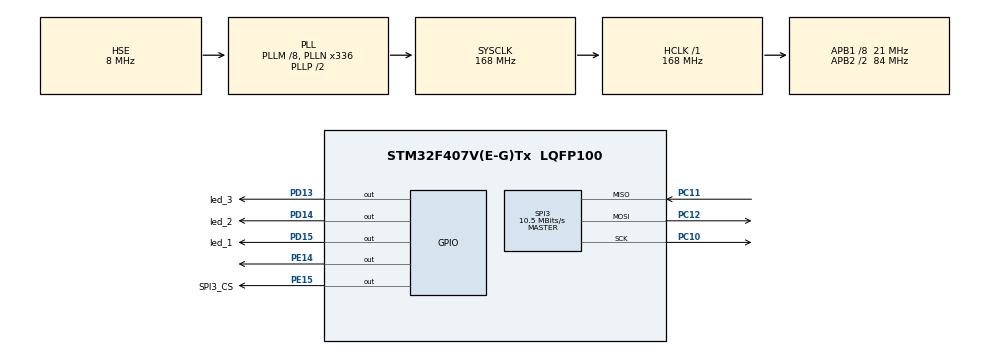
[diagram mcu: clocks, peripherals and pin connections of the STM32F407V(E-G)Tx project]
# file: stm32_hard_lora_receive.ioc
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Mcu.Family=STM32F4
Mcu.Name=STM32F407V(E-G)Tx
Mcu.Package=LQFP100
NVIC.PriorityGroup=NVIC_PRIORITYGROUP_0
NVIC.TIM2_IRQn=true\:0\:0\:false\:false\:true\:true\:true
PA13.Mode=Serial_Wire
PA13.Signal=SYS_JTMS-SWDIO
PA14.Mode=Serial_Wire
PA14.Signal=SYS_JTCK-SWCLK
PC10.Mode=Full_Duplex_Master
PC10.Signal=SPI3_SCK
PC11.Mode=Full_Duplex_Master
PC11.Signal=SPI3_MISO
PC12.Mode=Full_Duplex_Master
PC12.Signal=SPI3_MOSI
PC14-OSC32_IN.Mode=LSE-External-Oscillator
PC14-OSC32_IN.Signal=RCC_OSC32_IN
PC15-OSC32_OUT.Mode=LSE-External-Oscillator
PC15-OSC32_OUT.Signal=RCC_OSC32_OUT
PD13.GPIO_Label=led_3
PD13.Signal=GPIO_Output
PD14.GPIO_Label=led_2
PD14.Signal=GPIO_Output
PD15.GPIO_Label=led_1
PD15.Signal=GPIO_Output
PE14.Signal=GPIO_Output
PE15.GPIO_Label=SPI3_CS
PE15.Signal=GPIO_Output
PH0-OSC_IN.Mode=HSE-External-Oscillator
PH0-OSC_IN.Signal=RCC_OSC_IN
PH1-OSC_OUT.Mode=HSE-External-Oscillator
PH1-OSC_OUT.Signal=RCC_OSC_OUT
ProjectManager.HeapSize=0x200
ProjectManager.StackSize=0x400
ProjectManager.TargetToolchain=STM32CubeIDE
RCC.48MHZClocksFreq_Value=48000000
RCC.AHBFreq_Value=168000000
RCC.APB1CLKDivider=RCC_HCLK_DIV8
RCC.APB1Freq_Value=21000000
RCC.APB1TimFreq_Value=42000000
RCC.APB2CLKDivider=RCC_HCLK_DIV2
RCC.APB2Freq_Value=84000000
RCC.APB2TimFreq_Value=168000000
RCC.CortexFreq_Value=168000000
RCC.HCLKFreq_Value=168000000
RCC.HSE_VALUE=8000000
RCC.HSI_VALUE=16000000
RCC.PLLM=8
RCC.PLLN=336
RCC.PLLQ=7
RCC.PLLSourceVirtual=RCC_PLLSOURCE_HSE
RCC.SYSCLKFreq_VALUE=168000000
RCC.SYSCLKSource=RCC_SYSCLKSOURCE_PLLCLK
RCC.VCOOutputFreq_Value=336000000
SPI3.CalculateBaudRate=10.5 MBits/s
SPI3.Direction=SPI_DIRECTION_2LINES
SPI3.Mode=SPI_MODE_MASTER
SPI3.VirtualType=VM_MASTER
TIM2.Period=250
TIM2.Prescaler=42000
VP_TIM2_VS_ClockSourceINT.Mode=Internal
board=STM32F407G-DISC1

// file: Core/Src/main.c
/* USER CODE BEGIN Header */
/**
 ******************************************************************************
 * @file           : main.c
 * @brief          : Main program body
 ******************************************************************************
 * @attention
 *
 * <h2><center>&copy; Copyright (c) 2021 STMicroelectronics.
 * All rights reserved.</center></h2>
 *
 * This software component is licensed by ST under Ultimate Liberty license
 * SLA0044, the "License"; You may not use this file except in compliance with
 * the License. You may obtain a copy of the License at:
 *                             www.st.com/SLA0044
 *
 ******************************************************************************
 */
/* USER CODE END Header */
#include "main.h"

/* USER CODE BEGIN Includes */
#include "LoRa.h"
#include "stdio.h"
#include "stdlib.h"
#include "string.h"

/* USER CODE END Includes */

SPI_HandleTypeDef hspi3;

TIM_HandleTypeDef htim2;

/* USER CODE BEGIN PV */
uint8_t transmitOK;
uint8_t receiveOK;
uint8_t cnt = 0;
 uint8_t read_data[10];
unsigned char myID1[7];
unsigned char myID2[7];
uint8_t counterID1;
uint8_t counterID2;
LoRa myLoRa;
uint8_t trueRate = 0 ;
/* USER CODE END PV */

void SystemClock_Config(void);
static void MX_GPIO_Init(void);
static void MX_SPI3_Init(void);
static void MX_TIM2_Init(void);

int main(void)
{

  /* MCU Configuration--------------------------------------------------------*/

  /* Reset of all peripherals, Initializes the Flash interface and the Systick. */
  HAL_Init();

  /* Configure the system clock */
  SystemClock_Config();

  /* Initialize all configured peripherals */
  MX_GPIO_Init();
  MX_SPI3_Init();
  MX_TIM2_Init();
  /* USER CODE BEGIN 2 */

	myLoRa = newLoRa();

	myLoRa.CS_port = GPIOE;
	myLoRa.CS_pin = GPIO_PIN_15;
	myLoRa.reset_port = GPIOE;
	myLoRa.reset_pin = GPIO_PIN_14;
	myLoRa.DIO0_port = GPIOE;
	myLoRa.DIO0_pin = GPIO_PIN_13;
	myLoRa.hSPIx = &hspi3;

	myLoRa.frequency = 868;             // default = 433 MHz
	myLoRa.spredingFactor = SF_7;            // default = SF_7
	myLoRa.bandWidth = BW_125KHz;       // default = BW_125KHz
	myLoRa.crcRate = CR_4_5;          // default = CR_4_5
	myLoRa.power = POWER_20db;      // default = 20db
	myLoRa.overCurrentProtection = 100;             // default = 100 mA
	myLoRa.preamble = 8;              // default = 8;

	LoRa_reset(&myLoRa);
	LoRa_init(&myLoRa);
	LoRa_WakeUp_Receive(&myLoRa);
	// first two index is containing password
	// another 5 index is contating RFID data
	myID1[0] = 19;
	myID1[1] = 07;
	myID1[2] = 00;
	myID1[3] = 00;
	myID1[4] = 11;
	myID1[5] = 11;
	myID1[6] = 00;
	myID2[0] = 19;
	myID2[1] = 07;
	myID2[2] = 00;
	myID2[3] = 00;
	myID2[4] = 11;
	myID2[5] = 11;
	myID2[6] = 00;

	HAL_TIM_Base_Start_IT(&htim2);
  /* USER CODE END 2 */

  /* Infinite loop */
	while (1) {

	}
}

void SystemClock_Config(void)
{
  RCC_OscInitTypeDef RCC_OscInitStruct = {0};
  RCC_ClkInitTypeDef RCC_ClkInitStruct = {0};

  /** Configure the main internal regulator output voltage
  */
  __HAL_RCC_PWR_CLK_ENABLE();
  __HAL_PWR_VOLTAGESCALING_CONFIG(PWR_REGULATOR_VOLTAGE_SCALE1);
  /** Initializes the RCC Oscillators according to the specified parameters
  * in the RCC_OscInitTypeDef structure.
  */
  RCC_OscInitStruct.OscillatorType = RCC_OSCILLATORTYPE_HSE;
  RCC_OscInitStruct.HSEState = RCC_HSE_ON;
  RCC_OscInitStruct.PLL.PLLState = RCC_PLL_ON;
  RCC_OscInitStruct.PLL.PLLSource = RCC_PLLSOURCE_HSE;
  RCC_OscInitStruct.PLL.PLLM = 8;
  RCC_OscInitStruct.PLL.PLLN = 336;
  RCC_OscInitStruct.PLL.PLLP = RCC_PLLP_DIV2;
  RCC_OscInitStruct.PLL.PLLQ = 7;
  if (HAL_RCC_OscConfig(&RCC_OscInitStruct) != HAL_OK)
  {
    Error_Handler();
  }
  /** Initializes the CPU, AHB and APB buses clocks
  */
  RCC_ClkInitStruct.ClockType = RCC_CLOCKTYPE_HCLK|RCC_CLOCKTYPE_SYSCLK
                              |RCC_CLOCKTYPE_PCLK1|RCC_CLOCKTYPE_PCLK2;
  RCC_ClkInitStruct.SYSCLKSource = RCC_SYSCLKSOURCE_PLLCLK;
  RCC_ClkInitStruct.AHBCLKDivider = RCC_SYSCLK_DIV1;
  RCC_ClkInitStruct.APB1CLKDivider = RCC_HCLK_DIV8;
  RCC_ClkInitStruct.APB2CLKDivider = RCC_HCLK_DIV2;

  if (HAL_RCC_ClockConfig(&RCC_ClkInitStruct, FLASH_LATENCY_5) != HAL_OK)
  {
    Error_Handler();
  }
}

static void MX_SPI3_Init(void)
{

  /* SPI3 parameter configuration*/
  hspi3.Instance = SPI3;
  hspi3.Init.Mode = SPI_MODE_MASTER;
  hspi3.Init.Direction = SPI_DIRECTION_2LINES;
  hspi3.Init.DataSize = SPI_DATASIZE_8BIT;
  hspi3.Init.CLKPolarity = SPI_POLARITY_LOW;
  hspi3.Init.CLKPhase = SPI_PHASE_1EDGE;
  hspi3.Init.NSS = SPI_NSS_SOFT;
  hspi3.Init.BaudRatePrescaler = SPI_BAUDRATEPRESCALER_2;
  hspi3.Init.FirstBit = SPI_FIRSTBIT_MSB;
  hspi3.Init.TIMode = SPI_TIMODE_DISABLE;
  hspi3.Init.CRCCalculation = SPI_CRCCALCULATION_DISABLE;
  hspi3.Init.CRCPolynomial = 10;
  if (HAL_SPI_Init(&hspi3) != HAL_OK)
  {
    Error_Handler();
  }

}

static void MX_TIM2_Init(void)
{

  TIM_ClockConfigTypeDef sClockSourceConfig = {0};
  TIM_MasterConfigTypeDef sMasterConfig = {0};

  htim2.Instance = TIM2;
  htim2.Init.Prescaler = 42000;
  htim2.Init.CounterMode = TIM_COUNTERMODE_UP;
  htim2.Init.Period = 250;
  htim2.Init.ClockDivision = TIM_CLOCKDIVISION_DIV1;
  htim2.Init.AutoReloadPreload = TIM_AUTORELOAD_PRELOAD_DISABLE;
  if (HAL_TIM_Base_Init(&htim2) != HAL_OK)
  {
    Error_Handler();
  }
  sClockSourceConfig.ClockSource = TIM_CLOCKSOURCE_INTERNAL;
  if (HAL_TIM_ConfigClockSource(&htim2, &sClockSourceConfig) != HAL_OK)
  {
    Error_Handler();
  }
  sMasterConfig.MasterOutputTrigger = TIM_TRGO_RESET;
  sMasterConfig.MasterSlaveMode = TIM_MASTERSLAVEMODE_DISABLE;
  if (HAL_TIMEx_MasterConfigSynchronization(&htim2, &sMasterConfig) != HAL_OK)
  {
    Error_Handler();
  }

}

static void MX_GPIO_Init(void)
{
  GPIO_InitTypeDef GPIO_InitStruct = {0};

  /* GPIO Ports Clock Enable */
  __HAL_RCC_GPIOC_CLK_ENABLE();
  __HAL_RCC_GPIOH_CLK_ENABLE();
  __HAL_RCC_GPIOE_CLK_ENABLE();
  __HAL_RCC_GPIOD_CLK_ENABLE();
  __HAL_RCC_GPIOA_CLK_ENABLE();

  /*Configure GPIO pin Output Level */
  HAL_GPIO_WritePin(GPIOE, GPIO_PIN_14|SPI3_CS_Pin, GPIO_PIN_RESET);

  /*Configure GPIO pin Output Level */
  HAL_GPIO_WritePin(GPIOD, led_3_Pin|led_2_Pin|led_1_Pin, GPIO_PIN_RESET);

  /*Configure GPIO pins : PE14 SPI3_CS_Pin */
  GPIO_InitStruct.Pin = GPIO_PIN_14|SPI3_CS_Pin;
  GPIO_InitStruct.Mode = GPIO_MODE_OUTPUT_PP;
  GPIO_InitStruct.Pull = GPIO_NOPULL;
  GPIO_InitStruct.Speed = GPIO_SPEED_FREQ_LOW;
  HAL_GPIO_Init(GPIOE, &GPIO_InitStruct);

  /*Configure GPIO pins : led_3_Pin led_2_Pin led_1_Pin */
  GPIO_InitStruct.Pin = led_3_Pin|led_2_Pin|led_1_Pin;
  GPIO_InitStruct.Mode = GPIO_MODE_OUTPUT_PP;
  GPIO_InitStruct.Pull = GPIO_NOPULL;
  GPIO_InitStruct.Speed = GPIO_SPEED_FREQ_LOW;
  HAL_GPIO_Init(GPIOD, &GPIO_InitStruct);

}

/* USER CODE BEGIN 4 */
void HAL_TIM_PeriodElapsedCallback(TIM_HandleTypeDef *htim) {
	counterID1 = 0;
	counterID2 = 0;
	uint8_t temp = 0;

	for (int m = 0; m < 7; m++) {
		read_data[m] = 0;
	}

	LoRa_WakeUp_Receive(&myLoRa);
	LoRa_Delay(999999);

	do {
		LoRa_receive(&myLoRa, read_data, 10);              //128

		temp++;

	} while (!(((read_data[0] == 19) && (read_data[1] == 07)) || (temp > 7)));

	if((read_data[0] == 19) && (read_data[1] == 07)){
		trueRate++;

		//HAL_GPIO_WritePin(GPIOD, GPIO_PIN_13, SET);
		//HAL_GPIO_TogglePin(GPIOD, GPIO_PIN_13);
	}

	for (int m = 2; m < 7; m++) {
		if (read_data[m] == myID1[m]) {
			counterID1++;
		}
		if (read_data[m] == myID2[m]) {
			counterID2++;
		}

	}
	if (counterID1 == 5) {

		HAL_GPIO_WritePin(GPIOD, GPIO_PIN_15, SET);
		HAL_GPIO_WritePin(GPIOD, GPIO_PIN_14, RESET);

	} else if (counterID2 == 5) {

		HAL_GPIO_WritePin(GPIOD, GPIO_PIN_15, RESET);
		HAL_GPIO_WritePin(GPIOD, GPIO_PIN_14, SET);
	}
	else {
		HAL_GPIO_WritePin(GPIOD, GPIO_PIN_15, RESET);
		HAL_GPIO_WritePin(GPIOD, GPIO_PIN_14, RESET);
	}
	LoRa_Sleep(&myLoRa);
}
/* USER CODE END 4 */

void Error_Handler(void)
{
	__disable_irq();
	while (1) {
	}
}

/************************ (C) COPYRIGHT STMicroelectronics *****END OF FILE****/
